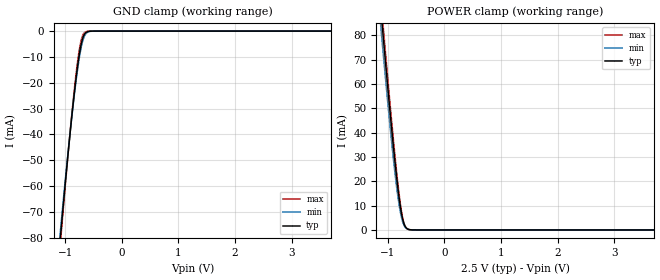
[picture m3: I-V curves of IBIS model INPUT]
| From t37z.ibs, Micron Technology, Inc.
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|   MODEL INPUT
[Model]   INPUT
Model_type   Input
Vinl = 0.940V
Vinh = 1.560V
|   typ   min   max
C_comp   1.05pF   0.89pF   1.21pF
[Model Spec]
| Input threshold voltage corners
Vinh   1.560V   1.460V   1.660V
Vinl   0.940V   0.840V   1.040V
| Overshoot/Undershoot
S_overshoot_high   2.800V   2.600V   3.000V
S_overshoot_low   -0.300V   NA   NA
[Receiver Thresholds]
Vth   =  1.250V
Vth_min  =  1.225V
Vth_max  =  1.275V
Vinh_ac  =  0.310V
Vinh_dc  =  0.150V
Vinl_ac  = -0.310V
Vinl_dc  = -0.150V
Tslew_ac =  20.000ns |Not specified, so set to high value
[Voltage Range]   2.500V   2.300V   2.700V
| Junction Temperature (Ambient temp is 25C typ, 70C min, 0C max)
[Temperature Range]   40.0   85.0   0.0
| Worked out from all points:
|   GND clamp passes 1 mA (typ) near -0.65 V on its own axis
|   POWER clamp passes 1 mA (typ) near -0.68 V on its own axis
[GND Clamp]
|   Voltage   I(typ)   I(min)   I(max)
-2.5V     -465.5mA   -446.8mA   -483.1mA
-1.085V   -80.16mA   -77.66mA   -82.45mA
-1.07V    -76.44mA   -74.14mA   -78.5mA
-1.055V   -72.74mA   -70.65mA   -74.58mA
-910mV    -38.91mA   -38.79mA   -38.48mA
-845mV    -25.39mA   -26mA      -24.06mA
-790mV    -15.26mA   -16.36mA   -13.43mA
-750mV    -9.089mA   -10.37mA   -7.206mA
-715mV    -4.922mA   -6.155mA   -3.352mA
-635mV    -607.9uA   -1.086mA   -256.5uA
-446mV    0A         NA         NA
5V        0A         0A         0A
[POWER Clamp]
|   Voltage   I(typ)   I(min)   I(max)
-2.5V     479.2mA    468.5mA    486.6mA
-1.115V   89.16mA    82.04mA    93.5mA
-1.085V   81.21mA    74.29mA    85.41mA
-1.065V   75.95mA    69.17mA    80.05mA
-920mV    39.35mA    34.01mA    42.46mA
-865mV    26.7mA     22.23mA    29.24mA
-815mV    16.39mA    13.03mA    18.26mA
-770mV    8.778mA    6.678mA    9.878mA
-730mV    4.027mA    3.029mA    4.456mA
-690mV    1.453mA    1.156mA    1.492mA
-645mV    379.7uA    341.9uA    339uA
5V        0A         0A         0A
